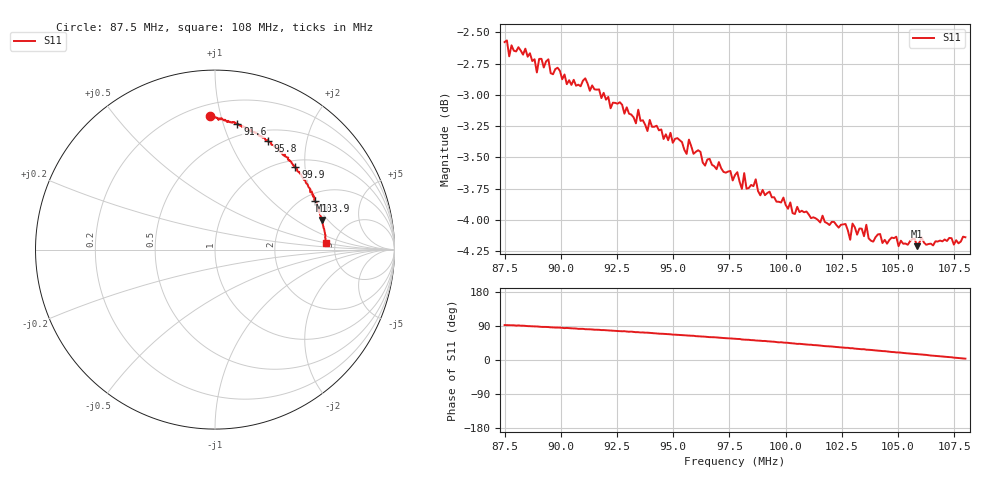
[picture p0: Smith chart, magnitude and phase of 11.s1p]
!Agilent Technologies,N5225A,MY51441201,A.09.90.19
!Agilent N5225A: A.09.90.19
!Date: Wednesday, April 25, 2018 16:15:21
!Correction: S11(Full 1 Port(1))
!S1P File: Measurement: S11:
# Hz S  dB  R 50
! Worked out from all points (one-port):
!   201 points, 87.5 MHz to 108 MHz, reference 50 ohm
!   lowest |S11| = -4.2 dB at 105.8 MHz (marker M1), VSWR 4.21, Z = 161 + j85.7 ohm
!   |S11| at or under -10 dB: nowhere
!   S11 on the Smith chart (normalised r, x): 87.5 MHz: 0.28, +0.92; 91.6 MHz: 0.39, +1.11; 95.8 MHz: 0.63, +1.40; 99.9 MHz: 1.13, +1.78; 103.9 MHz: 2.30, +2.00; 108 MHz: 4.21, +0.53
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8.75e7  -2.58 92.2
8.791e7  -2.65 91.7
8.80125e7  -2.65 90.7
8.8115e7  -2.62 91.3
8.8935e7  -2.82 88.5
8.914e7  -2.71 87.4
9.00625e7  -2.88 84.9
9.16e7  -2.96 79.9
9.2625e7  -3.06 76.3
9.51875e7  -3.35 66.4
9.58025e7  -3.41 64.0
9.775e7  -3.64 56.1
9.7955e7  -3.69 55.4
9.80575e7  -3.75 54.2
9.816e7  -3.63 53.7
9.8365e7  -3.74 53.3
9.86725e7  -3.68 51.5
9.99025e7  -3.82 45.9
1.003125e8  -3.95 43.9
1.02055e8  -4.01 35.6
1.02875e8  -4.16 31.0
1.029775e8  -4.03 31.1
1.0349e8  -4.13 28.5
1.035925e8  -4.04 27.3
1.039e8  -4.17 25.8
1.054375e8  -4.20 17.5
1.058475e8  -4.21 15.5
1.08e8  -4.14 3.6
